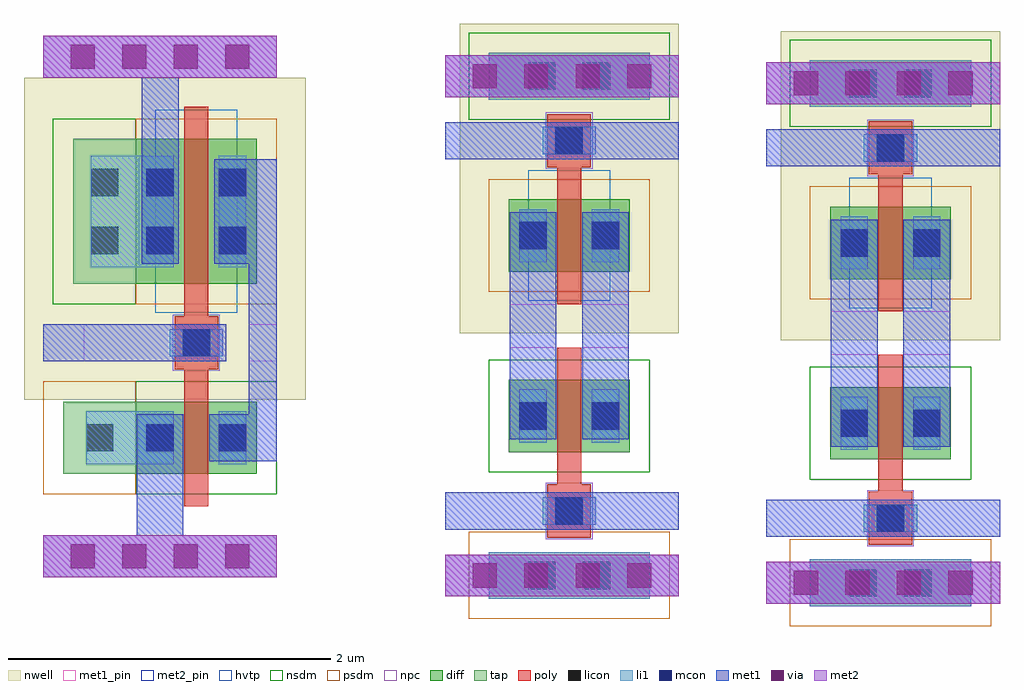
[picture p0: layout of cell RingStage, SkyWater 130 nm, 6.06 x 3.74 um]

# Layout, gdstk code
from math import pi, radians
import gdstk
lib = gdstk.Library(unit=1e-6, precision=1e-09)
def R(c, l, rs):  # rectangles x0, y0, x1, y1
    for r in rs: c.add(gdstk.rectangle(r[:2], r[2:], *l))
def A(c, l, x, y, w, h, nx, ny, dx, dy):  # array of equal rectangles
    R(c, l, [(x+i*dx, y+j*dy, x+i*dx+w, y+j*dy+h) for i in range(nx) for j in range(ny)])
nwell = (64, 20)
diff = (65, 20)
tap = (65, 44)
poly = (66, 20)
licon = (66, 44)
li1 = (67, 20)
mcon = (67, 44)
met1_pin = (68, 16)
met1 = (68, 20)
via = (68, 44)
met2_pin = (69, 16)
met2 = (69, 20)
hvtp = (78, 44)
nsdm = (93, 44)
psdm = (94, 20)
npc = (95, 20)

nfet = lib.new_cell('nfet')
R(nfet, diff, [(0,0,0.75,0.45)])
R(nfet, tap, [(0.75,0,1.2,0.45)])
R(nfet, poly, [(0.3,-0.2,0.45,0.65), (0.24,0.65,0.51,0.98)])
R(nfet, licon, [(0.065,0.14,0.235,0.31), (0.515,0.14,0.685,0.31), (0.89,0.14,1.06,0.31), (0.29,0.73,0.46,0.9)])
R(nfet, li1, [(0.065,0.06,0.235,0.39), (0.515,0.06,0.685,0.39), (0.89,0.06,1.06,0.39), (0.21,0.73,0.54,0.9)])
R(nfet, mcon, [(0.065,0.14,0.235,0.31), (0.515,0.14,0.685,0.31), (0.29,0.73,0.46,0.9)])
R(nfet, met1, [(0.005,0.08,0.295,0.37), (0.455,0.08,0.745,0.37), (0.19,0.7,0.56,0.93)])
R(nfet, nsdm, [(-0.125,-0.125,0.75,0.575)])
R(nfet, psdm, [(0.75,-0.125,1.325,0.575)])
R(nfet, npc, [(0.23,0.64,0.52,0.99)])

pfet = lib.new_cell('pfet')
R(pfet, nwell, [(-0.305,-0.72,1.445,1.28)])
R(pfet, diff, [(0,0,0.75,0.9)])
R(pfet, tap, [(0.75,0,1.14,0.9)])
R(pfet, poly, [(0.24,-0.53,0.51,-0.2), (0.3,-0.2,0.45,1.1)])
R(pfet, licon, [(0.29,-0.45,0.46,-0.28), (0.065,0.185,0.235,0.355), (0.515,0.185,0.685,0.355), (0.86,0.185,1.03,0.355), (0.065,0.545,0.235,0.715), (0.515,0.545,0.685,0.715), (0.86,0.545,1.03,0.715)])
R(pfet, li1, [(0.21,-0.45,0.54,-0.28), (0.065,0.105,0.235,0.795), (0.515,0.105,0.685,0.795), (0.86,0.105,1.03,0.795)])
R(pfet, mcon, [(0.29,-0.45,0.46,-0.28), (0.065,0.185,0.235,0.355), (0.515,0.185,0.685,0.355), (0.065,0.545,0.235,0.715), (0.515,0.545,0.685,0.715)])
R(pfet, met1, [(0.19,-0.48,0.56,-0.25), (0.035,0.125,0.265,0.775), (0.485,0.125,0.715,0.775)])
R(pfet, hvtp, [(0.12,-0.18,0.63,1.08)])
R(pfet, nsdm, [(0.75,-0.125,1.265,1.025)])
R(pfet, psdm, [(-0.125,-0.125,0.75,1.025)])
R(pfet, npc, [(0.23,-0.54,0.52,-0.19)])

vias_gen_1 = lib.new_cell('vias_gen$1')
R(vias_gen_1, met1, [(0,0,1.45,0.26)])
A(vias_gen_1, via, 0.17, 0.055, 0.15, 0.15, 4, 1, 0.32, 0)
R(vias_gen_1, met2, [(0,0,1.45,0.26)])

inverter = lib.new_cell('inverter')
R(inverter, li1, [(-0.04,0.12,0.505,0.45), (-0.01,1.345,0.505,2.035)])
R(inverter, met1_pin, [(-0.305,0.76,-0.05,0.99), (0.97,0.76,1.145,0.99)])
R(inverter, met1, [(-0.305,-0.55,0.85,-0.32), (0.85,-0.55,1.145,-0.32), (0.275,-0.32,0.565,0.43), (0.97,0.14,1.145,0.99), (-0.305,0.76,0.83,0.99), (0.97,0.99,1.145,2.015), (0.305,1.365,0.535,2.52), (-0.305,2.52,0.85,2.75), (0.85,2.52,1.145,2.75)])
R(inverter, met2_pin, [(-0.305,-0.58,1.145,-0.32), (-0.305,2.52,1.145,2.78)])
inverter.add(gdstk.Reference(nfet, (1.02,0.06), rotation=pi, x_reflection=True))
inverter.add(gdstk.Reference(pfet, (1.02,1.24), rotation=pi, x_reflection=True))
inverter.add(gdstk.Reference(vias_gen_1, (-0.305,-0.58)))
inverter.add(gdstk.Reference(vias_gen_1, (-0.305,2.52)))
inverter.add(gdstk.Label('Out', (1.045,0.855), layer=68, texttype=5))
inverter.add(gdstk.Label('In', (-0.19,0.87), layer=68, texttype=5))
inverter.add(gdstk.Label('VSS', (0.415,-0.47), layer=69, texttype=5))
inverter.add(gdstk.Label('VDD', (0.405,2.65), layer=69, texttype=5))

nfet_1 = lib.new_cell('nfet$1')
R(nfet_1, diff, [(0,0,0.75,0.45)])
R(nfet_1, poly, [(0.24,-0.53,0.51,-0.2), (0.3,-0.2,0.45,0.65)])
R(nfet_1, licon, [(0.29,-0.45,0.46,-0.28), (0.065,0.14,0.235,0.31), (0.515,0.14,0.685,0.31)])
R(nfet_1, li1, [(0.21,-0.45,0.54,-0.28), (0.065,0.06,0.235,0.39), (0.515,0.06,0.685,0.39)])
R(nfet_1, mcon, [(0.29,-0.45,0.46,-0.28), (0.065,0.14,0.235,0.31), (0.515,0.14,0.685,0.31)])
R(nfet_1, met1, [(0.19,-0.48,0.56,-0.25), (0.005,0.08,0.295,0.37), (0.455,0.08,0.745,0.37)])
R(nfet_1, nsdm, [(-0.125,-0.125,0.875,0.575)])
R(nfet_1, npc, [(0.23,-0.54,0.52,-0.19)])

pfet_1 = lib.new_cell('pfet$1')
R(pfet_1, nwell, [(-0.305,-0.38,1.055,1.17)])
R(pfet_1, diff, [(0,0,0.75,0.45)])
R(pfet_1, poly, [(0.3,-0.2,0.45,0.65), (0.24,0.65,0.51,0.98)])
R(pfet_1, licon, [(0.065,0.14,0.235,0.31), (0.515,0.14,0.685,0.31), (0.29,0.73,0.46,0.9)])
R(pfet_1, li1, [(0.065,0.06,0.235,0.39), (0.515,0.06,0.685,0.39), (0.21,0.73,0.54,0.9)])
R(pfet_1, mcon, [(0.065,0.14,0.235,0.31), (0.515,0.14,0.685,0.31), (0.29,0.73,0.46,0.9)])
R(pfet_1, met1, [(0.005,0.08,0.295,0.37), (0.455,0.08,0.745,0.37), (0.19,0.7,0.56,0.93)])
R(pfet_1, hvtp, [(0.12,-0.18,0.63,0.63)])
R(pfet_1, psdm, [(-0.125,-0.125,0.875,0.575)])
R(pfet_1, npc, [(0.23,0.64,0.52,0.99)])

vias_gen = lib.new_cell('vias_gen')
R(vias_gen, nwell, [(-0.18,-0.18,1.18,0.47)])
R(vias_gen, tap, [(0,0,1,0.29)])
R(vias_gen, licon, [(0.245,0.06,0.415,0.23), (0.585,0.06,0.755,0.23)])
R(vias_gen, li1, [(0,0,1,0.29)])
R(vias_gen, nsdm, [(-0.125,-0.125,1.125,0.415)])

vias_gen_2 = lib.new_cell('vias_gen$2')
R(vias_gen_2, tap, [(0,0,1,0.29)])
R(vias_gen_2, licon, [(0.245,0.06,0.415,0.23), (0.585,0.06,0.755,0.23)])
R(vias_gen_2, li1, [(0,0,1,0.29)])
R(vias_gen_2, psdm, [(-0.125,-0.125,1.125,0.415)])

passgate_hvt = lib.new_cell('passGate_hvt')
R(passgate_hvt, met1_pin, [(-0.255,-0.165,1.195,0.065), (0.145,0.965,0.435,1.235), (0.595,0.965,0.885,1.235), (-0.255,2.135,1.195,2.365)])
R(passgate_hvt, met1, [(-0.255,-0.55,0.9,-0.32), (0.9,-0.55,1.195,-0.32), (-0.255,-0.165,0.7,0.065), (0.7,-0.165,1.195,0.065), (0.145,0.395,0.435,1.805), (0.595,0.395,0.885,1.805), (-0.255,2.135,0.7,2.365), (0.7,2.135,1.195,2.365), (-0.255,2.52,0.9,2.75), (0.9,2.52,1.195,2.75)])
R(passgate_hvt, met2_pin, [(-0.255,-0.58,1.195,-0.32), (-0.255,2.52,1.195,2.78)])
passgate_hvt.add(gdstk.Reference(nfet_1, (0.14,0.315)))
passgate_hvt.add(gdstk.Reference(pfet_1, (0.14,1.435)))
passgate_hvt.add(gdstk.Reference(vias_gen_1, (-0.255,-0.58)))
passgate_hvt.add(gdstk.Reference(vias_gen_1, (-0.255,2.52)))
passgate_hvt.add(gdstk.Reference(vias_gen, (0.015,2.505)))
passgate_hvt.add(gdstk.Reference(vias_gen_2, (0.015,-0.595)))
passgate_hvt.add(gdstk.Label('In', (0.28,1.1), layer=68, texttype=5))
passgate_hvt.add(gdstk.Label('Out', (0.74,1.095), layer=68, texttype=5))
passgate_hvt.add(gdstk.Label('CLK', (0.505,-0.05), layer=68, texttype=5))
passgate_hvt.add(gdstk.Label('CLKN', (0.515,2.25), layer=68, texttype=5))
passgate_hvt.add(gdstk.Label('VSS', (0.465,-0.47), layer=69, texttype=5))
passgate_hvt.add(gdstk.Label('VDD', (0.455,2.65), layer=69, texttype=5))

ringstage = lib.new_cell('RingStage')
ringstage.add(gdstk.Reference(inverter, (-0.24,0.235)))
ringstage.add(gdstk.Reference(passgate_hvt, (2.205,0.115)))
ringstage.add(gdstk.Reference(passgate_hvt, (4.2,0.07)))

lib.write_gds('RingStage.gds')
